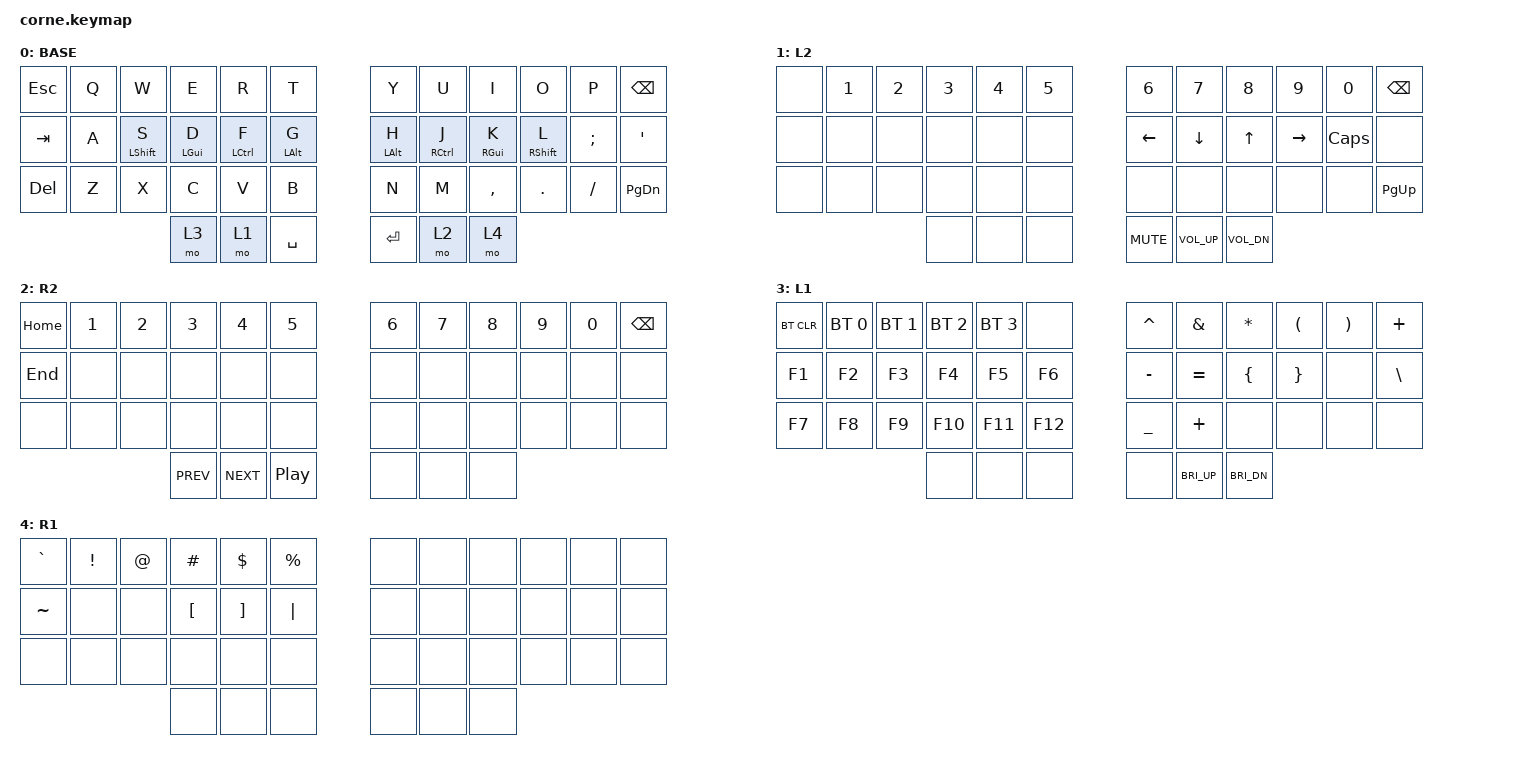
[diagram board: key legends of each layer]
/*
 * Copyright (c) 2020 The ZMK Contributors
 *
 * SPDX-License-Identifier: MIT
 */
//
//   Miryoku-style layout — QWERTY base, vim arrows (HJKL), GACS home row mods
//   Adapted from TOTEM config for Corne (42-key)

#include <behaviors.dtsi>
#include <dt-bindings/zmk/bt.h>
#include <dt-bindings/zmk/keys.h>

// Corne key positions (42 keys):
// Row 0:  0  1  2  3  4  5    6  7  8  9  10  11
// Row 1: 12 13 14 15 16 17   18 19 20 21  22  23
// Row 2: 24 25 26 27 28 29   30 31 32 33  34  35
// Thumb:          36 37 38   39 40 41

&mt {
    flavor = "tap-preferred";
    tapping-term-ms = <180>;
    quick-tap-ms = <155>;
    require-prior-idle-ms = <130>;
};

&lt {
    flavor = "balanced";
    tapping-term-ms = <200>;
    quick-tap-ms = <175>;
};

/ {
    combos {
        compatible = "zmk,combos";

        // -- Tier 1: Essential --
        // -- Tier 2: High Value --
        // -- Tier 3: Vertical Symbol Combos --
    };

    macros {
        hyper: hyper {
            compatible = "zmk,behavior-macro";
            #binding-cells = <0>;
            bindings =
                <&macro_press>,
                <&kp LGUI &kp LALT &kp LCTRL &kp LSHFT>,
                <&macro_pause_for_release>,
                <&macro_release>,
                <&kp LGUI &kp LALT &kp LCTRL &kp LSHFT>;
        };
    };

    keymap {
        compatible = "zmk,keymap";

        base_layer {
            display-name = "BASE";
            bindings = <
&kp ESC     &kp Q  &kp W        &kp E       &kp R        &kp T         &kp Y       &kp U        &kp I       &kp O        &kp P     &kp BSPC
&kp TAB     &kp A  &mt LSHFT S  &mt LGUI D  &mt LCTRL F  &mt LALT G    &mt LALT H  &mt RCTRL J  &mt RGUI K  &mt RSHFT L  &kp SEMI  &kp SQT
&kp DELETE  &kp Z  &kp X        &kp C       &kp V        &kp B         &kp N       &kp M        &kp COMMA   &kp DOT      &kp FSLH  &kp PG_DN
                                &mo 3       &mo 1        &kp SPACE     &kp RET     &mo 2        &mo 4
            >;
        };

        l2_layer {
            display-name = "L2";
            bindings = <
&none  &kp N1  &kp N2  &kp N3  &kp N4  &kp N5    &kp N6      &kp N7        &kp N8        &kp N9     &kp N0    &kp BSPC
&none  &none   &none   &none   &none   &none     &kp LEFT    &kp DOWN      &kp UP        &kp RIGHT  &kp CAPS  &none
&none  &none   &none   &none   &none   &none     &none       &none         &none         &none      &none     &kp PG_UP
                       &none   &none   &none     &kp C_MUTE  &kp C_VOL_UP  &kp C_VOL_DN
            >;
        };

        r2_layer {
            display-name = "R2";
            bindings = <
&kp HOME  &kp N1  &kp N2  &kp N3      &kp N4      &kp N5    &kp N6  &kp N7  &kp N8  &kp N9  &kp N0  &kp BSPC
&kp END   &none   &none   &none       &none       &none     &none   &none   &none   &none   &none   &none
&none     &none   &none   &none       &none       &none     &none   &none   &none   &none   &none   &none
                       &kp C_PREV  &kp C_NEXT  &kp C_PP  &none   &none   &none
            >;
        };

        l1_layer {
            display-name = "L1";
            bindings = <
&bt BT_CLR  &bt BT_SEL 0  &bt BT_SEL 1  &bt BT_SEL 2  &bt BT_SEL 3  &none      &kp CARET  &kp AMPS      &kp ASTRK       &kp LPAR         &kp RPAR  &kp PLUS
&kp F1      &kp F2        &kp F3        &kp F4        &kp F5        &kp F6     &kp MINUS  &kp EQUAL     &kp LEFT_BRACE  &kp RIGHT_BRACE  &none     &kp BACKSLASH
&kp F7      &kp F8        &kp F9        &kp F10       &kp F11       &kp F12    &kp UNDER  &kp PLUS         &none           &none            &none     &none
                                        &none         &none         &none      &none      &kp C_BRI_UP  &kp C_BRI_DN
            >;
        };

        r1_layer {
            display-name = "R1";
            bindings = <
&kp GRAVE  &kp EXCL  &kp AT  &kp HASH  &kp DLLR  &kp PRCNT    &none  &none  &none       &none  &none  &none
&kp TILDE  &none     &none   &kp LBKT  &kp RBKT  &kp PIPE     &none  &none  &none       &none  &none  &none
&none      &none     &none   &none     &none     &none        &none  &none  &none       &none  &none  &none
                             &none     &none     &none        &none  &none  &none
            >;
        };
    };
};

